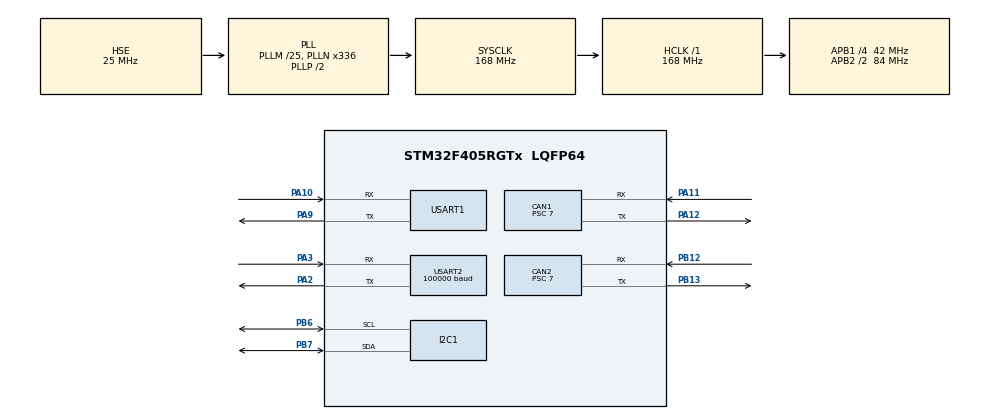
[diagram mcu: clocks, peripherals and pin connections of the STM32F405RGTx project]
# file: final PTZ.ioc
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CAN1.BS1=CAN_BS1_2TQ
CAN1.BS2=CAN_BS2_3TQ
CAN1.CalculateBaudRate=999999
CAN1.CalculateTimeBit=1000
CAN1.CalculateTimeQuantum=166.66666666666669
CAN1.Prescaler=7
CAN2.BS1=CAN_BS1_2TQ
CAN2.BS2=CAN_BS2_3TQ
CAN2.CalculateBaudRate=999999
CAN2.CalculateTimeBit=1000
CAN2.CalculateTimeQuantum=166.66666666666669
CAN2.Prescaler=7
Dma.Request0=USART2_RX
Dma.USART2_RX.0.Direction=DMA_PERIPH_TO_MEMORY
Dma.USART2_RX.0.FIFOMode=DMA_FIFOMODE_DISABLE
Dma.USART2_RX.0.Instance=DMA1_Stream5
Dma.USART2_RX.0.MemDataAlignment=DMA_MDATAALIGN_BYTE
Dma.USART2_RX.0.MemInc=DMA_MINC_ENABLE
Dma.USART2_RX.0.Mode=DMA_CIRCULAR
Dma.USART2_RX.0.PeriphDataAlignment=DMA_PDATAALIGN_BYTE
Dma.USART2_RX.0.PeriphInc=DMA_PINC_DISABLE
Dma.USART2_RX.0.Priority=DMA_PRIORITY_VERY_HIGH
FREERTOS.Tasks01=defaultTask,24,128,StartDefaultTask,Default,NULL,Dynamic,NULL,NULL;myTask01,8,128,StartTask01,Default,NULL,Dynamic,NULL,NULL;myTask02,8,128,StartTask02,Default,NULL,Dynamic,NULL,NULL;myTask03,8,128,StartTask03,Default,NULL,Dynamic,NULL,NULL;myTask04,8,128,StartTask04,Default,NULL,Dynamic,NULL,NULL;myTask05,8,128,StartTask05,Default,NULL,Dynamic,NULL,NULL
Mcu.Family=STM32F4
Mcu.Name=STM32F405RGTx
Mcu.Package=LQFP64
NVIC.CAN1_RX0_IRQn=true\:5\:0\:false\:false\:true\:true\:true\:true\:true
NVIC.CAN2_RX0_IRQn=true\:5\:0\:false\:false\:true\:true\:true\:true\:true
NVIC.DMA1_Stream5_IRQn=true\:5\:0\:false\:false\:true\:true\:false\:true\:true
NVIC.PriorityGroup=NVIC_PRIORITYGROUP_4
NVIC.TIM7_IRQn=true\:15\:0\:false\:false\:true\:false\:false\:true\:true
NVIC.TimeBase=TIM7_IRQn
NVIC.TimeBaseIP=TIM7
NVIC.USART2_IRQn=true\:5\:0\:false\:false\:true\:true\:true\:true\:true
PA10.Mode=Asynchronous
PA10.Signal=USART1_RX
PA11.Mode=CAN_Activate
PA11.Signal=CAN1_RX
PA12.Mode=CAN_Activate
PA12.Signal=CAN1_TX
PA13.Mode=Serial_Wire
PA13.Signal=SYS_JTMS-SWDIO
PA14.Mode=Serial_Wire
PA14.Signal=SYS_JTCK-SWCLK
PA2.Mode=Asynchronous
PA2.Signal=USART2_TX
PA3.Mode=Asynchronous
PA3.Signal=USART2_RX
PA9.Mode=Asynchronous
PA9.Signal=USART1_TX
PB12.Mode=CAN_Activate
PB12.Signal=CAN2_RX
PB13.Mode=CAN_Activate
PB13.Signal=CAN2_TX
PB6.Mode=I2C
PB6.Signal=I2C1_SCL
PB7.Mode=I2C
PB7.Signal=I2C1_SDA
PC14-OSC32_IN.Mode=LSE-External-Oscillator
PC14-OSC32_IN.Signal=RCC_OSC32_IN
PC15-OSC32_OUT.Mode=LSE-External-Oscillator
PC15-OSC32_OUT.Signal=RCC_OSC32_OUT
PH0-OSC_IN.Mode=HSE-External-Oscillator
PH0-OSC_IN.Signal=RCC_OSC_IN
PH1-OSC_OUT.Mode=HSE-External-Oscillator
PH1-OSC_OUT.Signal=RCC_OSC_OUT
ProjectManager.HeapSize=0x200
ProjectManager.StackSize=0x400
ProjectManager.TargetToolchain=MDK-ARM V5.32
RCC.48MHZClocksFreq_Value=84000000
RCC.AHBFreq_Value=168000000
RCC.APB1CLKDivider=RCC_HCLK_DIV4
RCC.APB1Freq_Value=42000000
RCC.APB1TimFreq_Value=84000000
RCC.APB2CLKDivider=RCC_HCLK_DIV2
RCC.APB2Freq_Value=84000000
RCC.APB2TimFreq_Value=168000000
RCC.CortexFreq_Value=168000000
RCC.HCLKFreq_Value=168000000
RCC.HSE_VALUE=25000000
RCC.HSI_VALUE=16000000
RCC.PLLM=25
RCC.PLLN=336
RCC.PLLSourceVirtual=RCC_PLLSOURCE_HSE
RCC.SYSCLKFreq_VALUE=168000000
RCC.SYSCLKSource=RCC_SYSCLKSOURCE_PLLCLK
RCC.VCOOutputFreq_Value=336000000
USART1.VirtualMode=VM_ASYNC
USART2.BaudRate=100000
USART2.Parity=PARITY_EVEN
USART2.VirtualMode=VM_ASYNC
VP_FREERTOS_VS_CMSIS_V2.Mode=CMSIS_V2
VP_SYS_VS_tim7.Mode=TIM7
board=custom

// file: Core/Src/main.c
/* USER CODE BEGIN Header */
/**
  ******************************************************************************
  * @file           : main.c
  * @brief          : Main program body
  ******************************************************************************
  * @attention
  *
  * Copyright (c) 2024 STMicroelectronics.
  * All rights reserved.
  *
  * This software is licensed under terms that can be found in the LICENSE file
  * in the root directory of this software component.
  * If no LICENSE file comes with this software, it is provided AS-IS.
  *
  ******************************************************************************
  */
/* USER CODE END Header */
#include "main.h"
#include "cmsis_os.h"
#include "can.h"
#include "dma.h"
#include "i2c.h"
#include "usart.h"
#include "gpio.h"

void SystemClock_Config(void);
void MX_FREERTOS_Init(void);

int main(void)
{

  /* MCU Configuration--------------------------------------------------------*/

  /* Reset of all peripherals, Initializes the Flash interface and the Systick. */
  HAL_Init();

  /* Configure the system clock */
  SystemClock_Config();

  /* Initialize all configured peripherals */
  MX_GPIO_Init();
  MX_DMA_Init();
  MX_CAN1_Init();
  MX_CAN2_Init();
  MX_USART2_UART_Init();
  MX_I2C1_Init();
  MX_USART1_UART_Init();

  /* Init scheduler */
  osKernelInitialize();

  /* Call init function for freertos objects (in cmsis_os2.c) */
  MX_FREERTOS_Init();

  /* Start scheduler */
  osKernelStart();

  /* We should never get here as control is now taken by the scheduler */

  /* Infinite loop */
  while (1)
  {

  }
}

void SystemClock_Config(void)
{
  RCC_OscInitTypeDef RCC_OscInitStruct = {0};
  RCC_ClkInitTypeDef RCC_ClkInitStruct = {0};

  /** Configure the main internal regulator output voltage
  */
  __HAL_RCC_PWR_CLK_ENABLE();
  __HAL_PWR_VOLTAGESCALING_CONFIG(PWR_REGULATOR_VOLTAGE_SCALE1);

  /** Initializes the RCC Oscillators according to the specified parameters
  * in the RCC_OscInitTypeDef structure.
  */
  RCC_OscInitStruct.OscillatorType = RCC_OSCILLATORTYPE_HSE;
  RCC_OscInitStruct.HSEState = RCC_HSE_ON;
  RCC_OscInitStruct.PLL.PLLState = RCC_PLL_ON;
  RCC_OscInitStruct.PLL.PLLSource = RCC_PLLSOURCE_HSE;
  RCC_OscInitStruct.PLL.PLLM = 25;
  RCC_OscInitStruct.PLL.PLLN = 336;
  RCC_OscInitStruct.PLL.PLLP = RCC_PLLP_DIV2;
  RCC_OscInitStruct.PLL.PLLQ = 4;
  if (HAL_RCC_OscConfig(&RCC_OscInitStruct) != HAL_OK)
  {
    Error_Handler();
  }

  /** Initializes the CPU, AHB and APB buses clocks
  */
  RCC_ClkInitStruct.ClockType = RCC_CLOCKTYPE_HCLK|RCC_CLOCKTYPE_SYSCLK
                              |RCC_CLOCKTYPE_PCLK1|RCC_CLOCKTYPE_PCLK2;
  RCC_ClkInitStruct.SYSCLKSource = RCC_SYSCLKSOURCE_PLLCLK;
  RCC_ClkInitStruct.AHBCLKDivider = RCC_SYSCLK_DIV1;
  RCC_ClkInitStruct.APB1CLKDivider = RCC_HCLK_DIV4;
  RCC_ClkInitStruct.APB2CLKDivider = RCC_HCLK_DIV2;

  if (HAL_RCC_ClockConfig(&RCC_ClkInitStruct, FLASH_LATENCY_5) != HAL_OK)
  {
    Error_Handler();
  }
}

void HAL_TIM_PeriodElapsedCallback(TIM_HandleTypeDef *htim)
{
  if (htim->Instance == TIM7) {
    HAL_IncTick();
  }
}

void Error_Handler(void)
{
  __disable_irq();
  while (1)
  {
  }
}

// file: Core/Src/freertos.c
/* USER CODE BEGIN Header */
/**
  ******************************************************************************
  * File Name          : freertos.c
  * Description        : Code for freertos applications
  ******************************************************************************
  * @attention
  *
  * Copyright (c) 2024 STMicroelectronics.
  * All rights reserved.
  *
  * This software is licensed under terms that can be found in the LICENSE file
  * in the root directory of this software component.
  * If no LICENSE file comes with this software, it is provided AS-IS.
  *
  ******************************************************************************
  */
/* USER CODE END Header */

#include "FreeRTOS.h"
#include "task.h"
#include "main.h"
#include "cmsis_os.h"

/* USER CODE BEGIN Includes */
#include "can.h"
#include "pid.h"
#include "usart.h"
#include <stdio.h>
#include "MPU6050.h"

float pitch;
float roll;
float yaw;

pid_struct_t motor_pid_Single1;//定义摩擦轮pid结构体
float speedTarget1 = 0;//摩擦轮速度目标位置（单级）(0-380rpm左右)
/* USER CODE END Includes */

/* Definitions for defaultTask */
osThreadId_t defaultTaskHandle;
const osThreadAttr_t defaultTask_attributes = {
  .name = "defaultTask",
  .stack_size = 128 * 4,
  .priority = (osPriority_t) osPriorityNormal,
};
/* Definitions for myTask01 */
osThreadId_t myTask01Handle;
const osThreadAttr_t myTask01_attributes = {
  .name = "myTask01",
  .stack_size = 128 * 4,
  .priority = (osPriority_t) osPriorityLow,
};
/* Definitions for myTask02 */
osThreadId_t myTask02Handle;
const osThreadAttr_t myTask02_attributes = {
  .name = "myTask02",
  .stack_size = 128 * 4,
  .priority = (osPriority_t) osPriorityLow,
};
/* Definitions for myTask03 */
osThreadId_t myTask03Handle;
const osThreadAttr_t myTask03_attributes = {
  .name = "myTask03",
  .stack_size = 128 * 4,
  .priority = (osPriority_t) osPriorityLow,
};
/* Definitions for myTask04 */
osThreadId_t myTask04Handle;
const osThreadAttr_t myTask04_attributes = {
  .name = "myTask04",
  .stack_size = 128 * 4,
  .priority = (osPriority_t) osPriorityLow,
};
/* Definitions for myTask05 */
osThreadId_t myTask05Handle;
const osThreadAttr_t myTask05_attributes = {
  .name = "myTask05",
  .stack_size = 128 * 4,
  .priority = (osPriority_t) osPriorityLow,
};

void StartDefaultTask(void *argument);
void StartTask01(void *argument);
void StartTask02(void *argument);
void StartTask03(void *argument);
void StartTask04(void *argument);
void StartTask05(void *argument);

void MX_FREERTOS_Init(void); /* (MISRA C 2004 rule 8.1) */

void MX_FREERTOS_Init(void) {

  /* Create the thread(s) */
  /* creation of defaultTask */
  defaultTaskHandle = osThreadNew(StartDefaultTask, NULL, &defaultTask_attributes);

  /* creation of myTask01 */
  myTask01Handle = osThreadNew(StartTask01, NULL, &myTask01_attributes);

  /* creation of myTask02 */
  myTask02Handle = osThreadNew(StartTask02, NULL, &myTask02_attributes);

  /* creation of myTask03 */
  myTask03Handle = osThreadNew(StartTask03, NULL, &myTask03_attributes);

  /* creation of myTask04 */
  myTask04Handle = osThreadNew(StartTask04, NULL, &myTask04_attributes);

  /* creation of myTask05 */
  myTask05Handle = osThreadNew(StartTask05, NULL, &myTask05_attributes);

}

void StartDefaultTask(void *argument)
{
  /* USER CODE BEGIN StartDefaultTask */
    InitializeRemoteControl(&g_RemoteControlState);
  /* Infinite loop */
  for(;;)
  {
    vTaskDelete(NULL);
  }
  /* USER CODE END StartDefaultTask */
}

void StartTask01(void *argument)
{
  /* USER CODE BEGIN StartTask01 */
//    int res=1;

//    int16_t gx,gy,gz,ax,ay,az;
//    while(res)
//    {
//        res = MPU6050_DMP_Init();
//        printf(" ");
//        printf("InitNG:");
//        printf("%d",res);
//        vTaskDelay(1000);
//    }
//    printf(" ");
//    printf("InitOK\n");
  /* Infinite loop */
  for(;;)
  {
//      if(MPU6050_DMP_Get_Data(&pitch, &roll, &yaw,&gx,&gy,&gz,&ax,&ay,&az))
//    {
//        printf("ax:%d\n", ax);
//        printf("ay:%d\n", ay);
//        printf("az:%d\n", az);
//        printf("gx:%d\n", gx);
//        printf("gy:%d\n", gy);
//        printf("gz:%d\n\n", gz);
//    }

    vTaskDelay(1);
  }
  /* USER CODE END StartTask01 */
}

void StartTask02(void *argument)
{
  /* USER CODE BEGIN StartTask02 */
    Configure_Filter1();
    pid_init(&motor_pid_Single1,40,3,0,500,25000);
  /* Infinite loop */
  for(;;)
  {
    int16_t set_voltage1 = pid_calc(&motor_pid_Single1, speedTarget1, motor_info1.rotor_speed);

    if(rc.ch0>600)
    {
        speedTarget1 = 6000;
    }
    else
    {
        speedTarget1 = 0;
    }

    if(g_RemoteControlState.isRemoteActive==false)
    {
      CAN_Transmit1(0);
    }
    else
    {
      CAN_Transmit1(set_voltage1);
    }

    vTaskDelay(1);
  }
  /* USER CODE END StartTask02 */
}

void StartTask03(void *argument)
{
  /* USER CODE BEGIN StartTask03 */
  /* Infinite loop */
  for(;;)
  {
    vTaskDelay(1);
  }
  /* USER CODE END StartTask03 */
}

void StartTask04(void *argument)
{
  /* USER CODE BEGIN StartTask04 */
  /* Infinite loop */
  for(;;)
  {
    vTaskDelete(NULL);
  }
  /* USER CODE END StartTask04 */
}

void StartTask05(void *argument)
{
  /* USER CODE BEGIN StartTask05 */
  /* Infinite loop */
  for(;;)
  {
    vTaskDelete(NULL);
  }
  /* USER CODE END StartTask05 */
}
